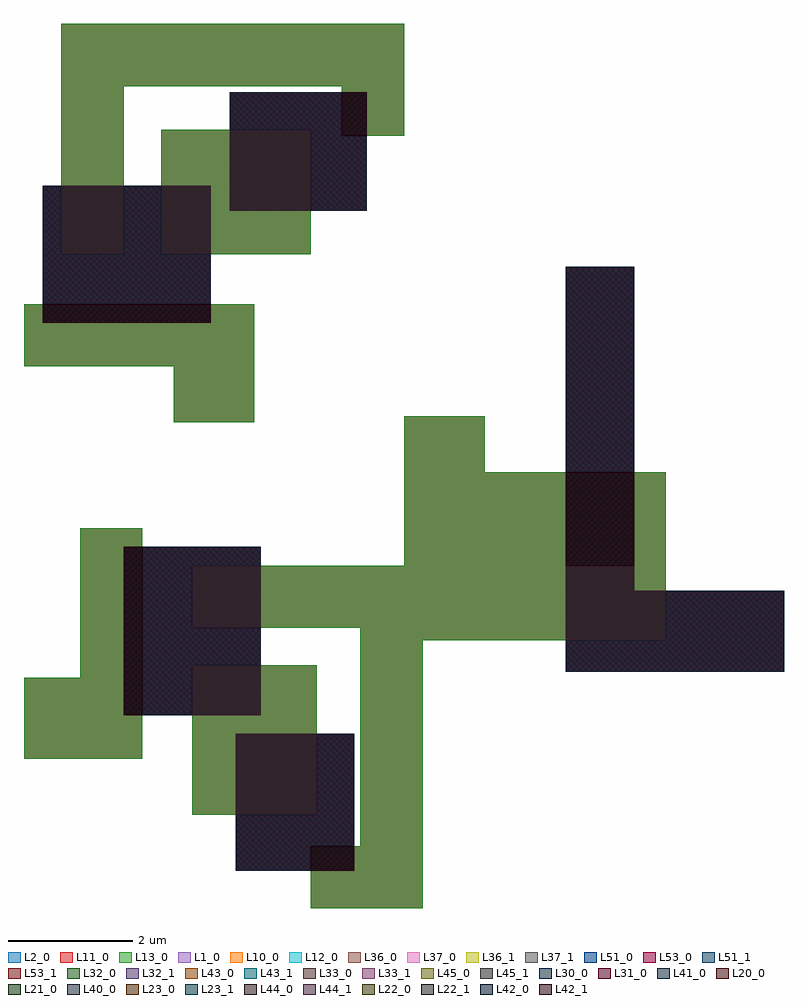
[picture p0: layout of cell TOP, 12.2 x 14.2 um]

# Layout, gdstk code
from math import pi, radians
import gdstk
lib = gdstk.Library(unit=1e-6, precision=1e-09)
def R(c, l, rs):  # rectangles x0, y0, x1, y1
    for r in rs: c.add(gdstk.rectangle(r[:2], r[2:], *l))
def P(c, l, *ps):  # polygons
    for p in ps: c.add(gdstk.Polygon(p, *l))
L1_0 = (1, 0)
L2_0 = (2, 0)
L10_0 = (10, 0)
L11_0 = (11, 0)
L12_0 = (12, 0)
L13_0 = (13, 0)
L20_0 = (20, 0)
L21_0 = (21, 0)
L22_0 = (22, 0)
L22_1 = (22, 1)
L23_0 = (23, 0)
L23_1 = (23, 1)
L30_0 = (30, 0)
L31_0 = (31, 0)
L32_0 = (32, 0)
L32_1 = (32, 1)
L33_0 = (33, 0)
L33_1 = (33, 1)
L36_0 = (36, 0)
L36_1 = (36, 1)
L37_0 = (37, 0)
L37_1 = (37, 1)
L40_0 = (40, 0)
L41_0 = (41, 0)
L42_0 = (42, 0)
L42_1 = (42, 1)
L43_0 = (43, 0)
L43_1 = (43, 1)
L44_0 = (44, 0)
L44_1 = (44, 1)
L45_0 = (45, 0)
L45_1 = (45, 1)
L51_0 = (51, 0)
L51_1 = (51, 1)
L53_0 = (53, 0)
L53_1 = (53, 1)

c_a = lib.new_cell('A')
R(c_a, L1_0, [(0.4,0.8,2.6,2.7), (2.9,2.3,5.6,4.5)])
R(c_a, L2_0, [(1.3,1.4,3.7,3.4)])
P(c_a, L2_0, [(2.2,4.2),(2.2,6.1),(3.5,6.1),(3.5,5.2),(5.9,5.2),(5.9,4.2)],
  [(-0.2,-0.3),(-0.2,1.5),(0.8,1.5),(0.8,0.7),(4.3,0.7),(4.3,3.4),(5.3,3.4),(5.3,-0.3)])
R(c_a, L10_0, [(0.4,0.8,2.6,2.7), (2.9,2.3,5.6,4.5)])
R(c_a, L11_0, [(1.3,1.4,3.7,3.4)])
P(c_a, L11_0, [(2.2,4.2),(2.2,6.1),(3.5,6.1),(3.5,5.2),(5.9,5.2),(5.9,4.2)])
R(c_a, L12_0, [(0.4,0.8,2.6,2.7), (2.9,2.3,5.6,4.5)])
R(c_a, L13_0, [(1.3,1.4,3.7,3.4)])
P(c_a, L13_0, [(2.2,4.2),(2.2,6.1),(3.5,6.1),(3.5,5.2),(5.9,5.2),(5.9,4.2)])
R(c_a, L20_0, [(0.4,0.8,0.8,1.5), (1.3,1.4,2.6,2.7), (2.9,2.3,3.7,3.4), (4.3,2.3,5.3,3.4), (2.9,4.2,5.6,4.5)])
R(c_a, L21_0, [(0.4,0.8,0.8,1.5), (1.3,1.4,2.6,2.7), (2.9,2.3,3.7,3.4), (4.3,2.3,5.3,3.4), (2.9,4.2,5.6,4.5)])
R(c_a, L22_0, [(0.4,0.8,0.8,1.5), (2.9,4.2,5.6,4.5)])
R(c_a, L22_1, [(0.4,0.8,0.8,1.5), (2.9,4.2,5.6,4.5)])
R(c_a, L23_0, [(1.3,1.4,2.6,2.7), (2.9,2.3,3.7,3.4), (4.3,2.3,5.3,3.4)])
R(c_a, L23_1, [(1.3,1.4,2.6,2.7), (2.9,2.3,3.7,3.4), (4.3,2.3,5.3,3.4)])
P(c_a, L30_0, [(3.7,2.3),(3.7,3.4),(2.9,3.4),(2.9,4.2),(5.6,4.2),(5.6,2.3),(5.3,2.3),(5.3,3.4),(4.3,3.4),(4.3,2.3)],
  [(0.8,0.8),(0.8,1.5),(0.4,1.5),(0.4,2.7),(1.3,2.7),(1.3,1.4),(2.6,1.4),(2.6,0.8)])
P(c_a, L31_0, [(0.8,0.8),(0.8,1.5),(0.4,1.5),(0.4,2.7),(1.3,2.7),(1.3,1.4),(2.6,1.4),(2.6,0.8)],
  [(3.7,2.3),(3.7,3.4),(2.9,3.4),(2.9,4.2),(5.6,4.2),(5.6,2.3),(5.3,2.3),(5.3,3.4),(4.3,3.4),(4.3,2.3)])
R(c_a, L32_0, [(2.9,2.3,5.6,4.2)])
P(c_a, L32_0, [(0.8,0.8),(0.8,1.5),(0.4,1.5),(0.4,2.7),(2.6,2.7),(2.6,0.8)])
R(c_a, L32_1, [(2.9,2.3,5.6,4.2)])
P(c_a, L32_1, [(0.8,0.8),(0.8,1.5),(0.4,1.5),(0.4,2.7),(2.6,2.7),(2.6,0.8)])
P(c_a, L33_0, [(0.4,0.8),(0.4,2.7),(1.3,2.7),(1.3,1.4),(2.6,1.4),(2.6,0.8)],
  [(3.7,2.3),(3.7,3.4),(2.9,3.4),(2.9,4.5),(5.6,4.5),(5.6,2.3),(5.3,2.3),(5.3,3.4),(4.3,3.4),(4.3,2.3)])
P(c_a, L33_1, [(0.4,0.8),(0.4,2.7),(1.3,2.7),(1.3,1.4),(2.6,1.4),(2.6,0.8)],
  [(3.7,2.3),(3.7,3.4),(2.9,3.4),(2.9,4.5),(5.6,4.5),(5.6,2.3),(5.3,2.3),(5.3,3.4),(4.3,3.4),(4.3,2.3)])
R(c_a, L36_0, [(0.4,0.8,2.6,2.7), (2.9,2.3,5.6,4.5)])
R(c_a, L36_1, [(0.4,0.8,2.6,2.7), (2.9,2.3,5.6,4.5)])
R(c_a, L37_0, [(0.4,0.8,2.6,2.7), (2.9,2.3,5.6,4.5)])
R(c_a, L37_1, [(0.4,0.8,2.6,2.7), (2.9,2.3,5.6,4.5)])
R(c_a, L40_0, [(0.4,0.8,0.8,1.5), (1.3,1.4,2.6,2.7), (2.9,2.3,3.7,3.4), (4.3,2.3,5.3,3.4), (2.9,4.2,5.6,4.5)])
P(c_a, L41_0, [(3.7,2.3),(3.7,3.4),(2.9,3.4),(2.9,4.2),(5.6,4.2),(5.6,2.3),(5.3,2.3),(5.3,3.4),(4.3,3.4),(4.3,2.3)],
  [(0.8,0.8),(0.8,1.5),(0.4,1.5),(0.4,2.7),(1.3,2.7),(1.3,1.4),(2.6,1.4),(2.6,0.8)])
R(c_a, L42_0, [(0.4,0.8,0.8,1.5), (2.9,4.2,5.6,4.5)])
R(c_a, L42_1, [(0.4,0.8,0.8,1.5), (2.9,4.2,5.6,4.5)])
R(c_a, L43_0, [(2.9,2.3,5.6,4.2)])
P(c_a, L43_0, [(0.8,0.8),(0.8,1.5),(0.4,1.5),(0.4,2.7),(2.6,2.7),(2.6,0.8)])
R(c_a, L43_1, [(2.9,2.3,5.6,4.2)])
P(c_a, L43_1, [(0.8,0.8),(0.8,1.5),(0.4,1.5),(0.4,2.7),(2.6,2.7),(2.6,0.8)])
R(c_a, L44_0, [(1.3,1.4,2.6,2.7), (2.9,2.3,3.7,3.4), (4.3,2.3,5.3,3.4)])
R(c_a, L44_1, [(1.3,1.4,2.6,2.7), (2.9,2.3,3.7,3.4), (4.3,2.3,5.3,3.4)])
P(c_a, L45_0, [(0.4,0.8),(0.4,2.7),(1.3,2.7),(1.3,1.4),(2.6,1.4),(2.6,0.8)],
  [(3.7,2.3),(3.7,3.4),(2.9,3.4),(2.9,4.5),(5.6,4.5),(5.6,2.3),(5.3,2.3),(5.3,3.4),(4.3,3.4),(4.3,2.3)])
P(c_a, L45_1, [(0.4,0.8),(0.4,2.7),(1.3,2.7),(1.3,1.4),(2.6,1.4),(2.6,0.8)],
  [(3.7,2.3),(3.7,3.4),(2.9,3.4),(2.9,4.5),(5.6,4.5),(5.6,2.3),(5.3,2.3),(5.3,3.4),(4.3,3.4),(4.3,2.3)])
R(c_a, L51_0, [(0.4,0.8,2.6,2.7), (2.9,2.3,5.6,4.5)])
R(c_a, L51_1, [(0.4,0.8,2.6,2.7), (2.9,2.3,5.6,4.5)])
R(c_a, L53_0, [(0.4,0.8,2.6,2.7), (2.9,2.3,5.6,4.5)])
R(c_a, L53_1, [(0.4,0.8,2.6,2.7), (2.9,2.3,5.6,4.5)])

top = lib.new_cell('TOP')
P(top, L1_0, [(9.2,4.1),(9.2,10.6),(10.3,10.6),(10.3,5.4),(12.7,5.4),(12.7,4.1)])
R(top, L2_0, [(6.6,4.6,10.8,5.8)])
P(top, L2_0, [(6.6,5.8),(6.6,8.2),(7.9,8.2),(7.9,7.3),(10.8,7.3),(10.8,5.8)])
P(top, L10_0, [(9.2,4.1),(9.2,10.6),(10.3,10.6),(10.3,5.4),(12.7,5.4),(12.7,4.1)])
P(top, L11_0, [(6.6,5.8),(6.6,8.2),(7.9,8.2),(7.9,7.3),(10.8,7.3),(10.8,5.8)],
  [(5.1,0.3),(5.1,1.3),(5.9,1.3),(5.9,4.8),(3.2,4.8),(3.2,5.8),(10.8,5.8),(10.8,4.6),(6.9,4.6),(6.9,0.3)],
  [(1.1,10.8),(1.1,14.5),(6.6,14.5),(6.6,12.7),(5.6,12.7),(5.6,13.5),(2.1,13.5),(2.1,10.8)])
P(top, L12_0, [(9.2,4.1),(9.2,10.6),(10.3,10.6),(10.3,5.4),(12.7,5.4),(12.7,4.1)])
P(top, L13_0, [(5.1,0.3),(5.1,1.3),(5.9,1.3),(5.9,4.8),(3.2,4.8),(3.2,5.8),(6.6,5.8),(6.6,8.2),(7.9,8.2),(7.9,7.3),(10.8,7.3),(10.8,4.6),(6.9,4.6),(6.9,0.3)],
  [(1.1,10.8),(1.1,14.5),(6.6,14.5),(6.6,12.7),(5.6,12.7),(5.6,13.5),(2.1,13.5),(2.1,10.8)])
P(top, L20_0, [(9.2,4.6),(9.2,7.3),(10.3,7.3),(10.3,5.4),(10.8,5.4),(10.8,4.6)])
P(top, L21_0, [(9.2,4.6),(9.2,7.3),(10.3,7.3),(10.3,5.4),(10.8,5.4),(10.8,4.6)])
R(top, L22_0, [(9.2,5.8,10.3,7.3)])
R(top, L22_1, [(9.2,5.8,10.3,7.3)])
P(top, L23_0, [(9.2,4.6),(9.2,5.8),(10.3,5.8),(10.3,5.4),(10.8,5.4),(10.8,4.6)])
P(top, L23_1, [(9.2,4.6),(9.2,5.8),(10.3,5.8),(10.3,5.4),(10.8,5.4),(10.8,4.6)])
R(top, L30_0, [(9.2,7.3,10.3,10.6)])
P(top, L30_0, [(9.2,4.1),(9.2,4.6),(10.8,4.6),(10.8,5.4),(12.7,5.4),(12.7,4.1)])
R(top, L31_0, [(9.2,7.3,10.3,10.6)])
P(top, L31_0, [(9.2,4.1),(9.2,4.6),(10.8,4.6),(10.8,5.4),(12.7,5.4),(12.7,4.1)])
R(top, L32_0, [(9.2,7.3,10.3,10.6)])
P(top, L32_0, [(9.2,4.1),(9.2,5.8),(10.3,5.8),(10.3,5.4),(12.7,5.4),(12.7,4.1)])
R(top, L32_1, [(9.2,7.3,10.3,10.6)])
P(top, L32_1, [(9.2,4.1),(9.2,5.8),(10.3,5.8),(10.3,5.4),(12.7,5.4),(12.7,4.1)])
R(top, L33_0, [(9.2,5.8,10.3,10.6)])
P(top, L33_0, [(9.2,4.1),(9.2,4.6),(10.8,4.6),(10.8,5.4),(12.7,5.4),(12.7,4.1)])
R(top, L33_1, [(9.2,5.8,10.3,10.6)])
P(top, L33_1, [(9.2,4.1),(9.2,4.6),(10.8,4.6),(10.8,5.4),(12.7,5.4),(12.7,4.1)])
P(top, L36_0, [(9.2,4.1),(9.2,10.6),(10.3,10.6),(10.3,5.4),(12.7,5.4),(12.7,4.1)])
P(top, L36_1, [(9.2,4.1),(9.2,10.6),(10.3,10.6),(10.3,5.4),(12.7,5.4),(12.7,4.1)])
P(top, L37_0, [(9.2,4.1),(9.2,10.6),(10.3,10.6),(10.3,5.4),(12.7,5.4),(12.7,4.1)])
P(top, L37_1, [(9.2,4.1),(9.2,10.6),(10.3,10.6),(10.3,5.4),(12.7,5.4),(12.7,4.1)])
P(top, L40_0, [(9.2,4.6),(9.2,7.3),(10.3,7.3),(10.3,5.4),(10.8,5.4),(10.8,4.6)])
R(top, L41_0, [(9.2,7.3,10.3,10.6)])
P(top, L41_0, [(9.2,4.1),(9.2,4.6),(10.8,4.6),(10.8,5.4),(12.7,5.4),(12.7,4.1)])
R(top, L42_0, [(9.2,5.8,10.3,7.3)])
R(top, L42_1, [(9.2,5.8,10.3,7.3)])
R(top, L43_0, [(9.2,7.3,10.3,10.6)])
P(top, L43_0, [(9.2,4.1),(9.2,5.8),(10.3,5.8),(10.3,5.4),(12.7,5.4),(12.7,4.1)])
R(top, L43_1, [(9.2,7.3,10.3,10.6)])
P(top, L43_1, [(9.2,4.1),(9.2,5.8),(10.3,5.8),(10.3,5.4),(12.7,5.4),(12.7,4.1)])
P(top, L44_0, [(9.2,4.6),(9.2,5.8),(10.3,5.8),(10.3,5.4),(10.8,5.4),(10.8,4.6)])
P(top, L44_1, [(9.2,4.6),(9.2,5.8),(10.3,5.8),(10.3,5.4),(10.8,5.4),(10.8,4.6)])
R(top, L45_0, [(9.2,5.8,10.3,10.6)])
P(top, L45_0, [(9.2,4.1),(9.2,4.6),(10.8,4.6),(10.8,5.4),(12.7,5.4),(12.7,4.1)])
R(top, L45_1, [(9.2,5.8,10.3,10.6)])
P(top, L45_1, [(9.2,4.1),(9.2,4.6),(10.8,4.6),(10.8,5.4),(12.7,5.4),(12.7,4.1)])
P(top, L51_0, [(9.2,4.1),(9.2,10.6),(10.3,10.6),(10.3,5.4),(12.7,5.4),(12.7,4.1)])
P(top, L51_1, [(9.2,4.1),(9.2,10.6),(10.3,10.6),(10.3,5.4),(12.7,5.4),(12.7,4.1)])
P(top, L53_0, [(9.2,4.1),(9.2,10.6),(10.3,10.6),(10.3,5.4),(12.7,5.4),(12.7,4.1)])
P(top, L53_1, [(9.2,4.1),(9.2,10.6),(10.3,10.6),(10.3,5.4),(12.7,5.4),(12.7,4.1)])
top.add(gdstk.Reference(c_a, (6.6,0.5), rotation=pi/2))
top.add(gdstk.Reference(c_a, (6.4,14.2), rotation=pi))

lib.write_gds('TOP.gds')
